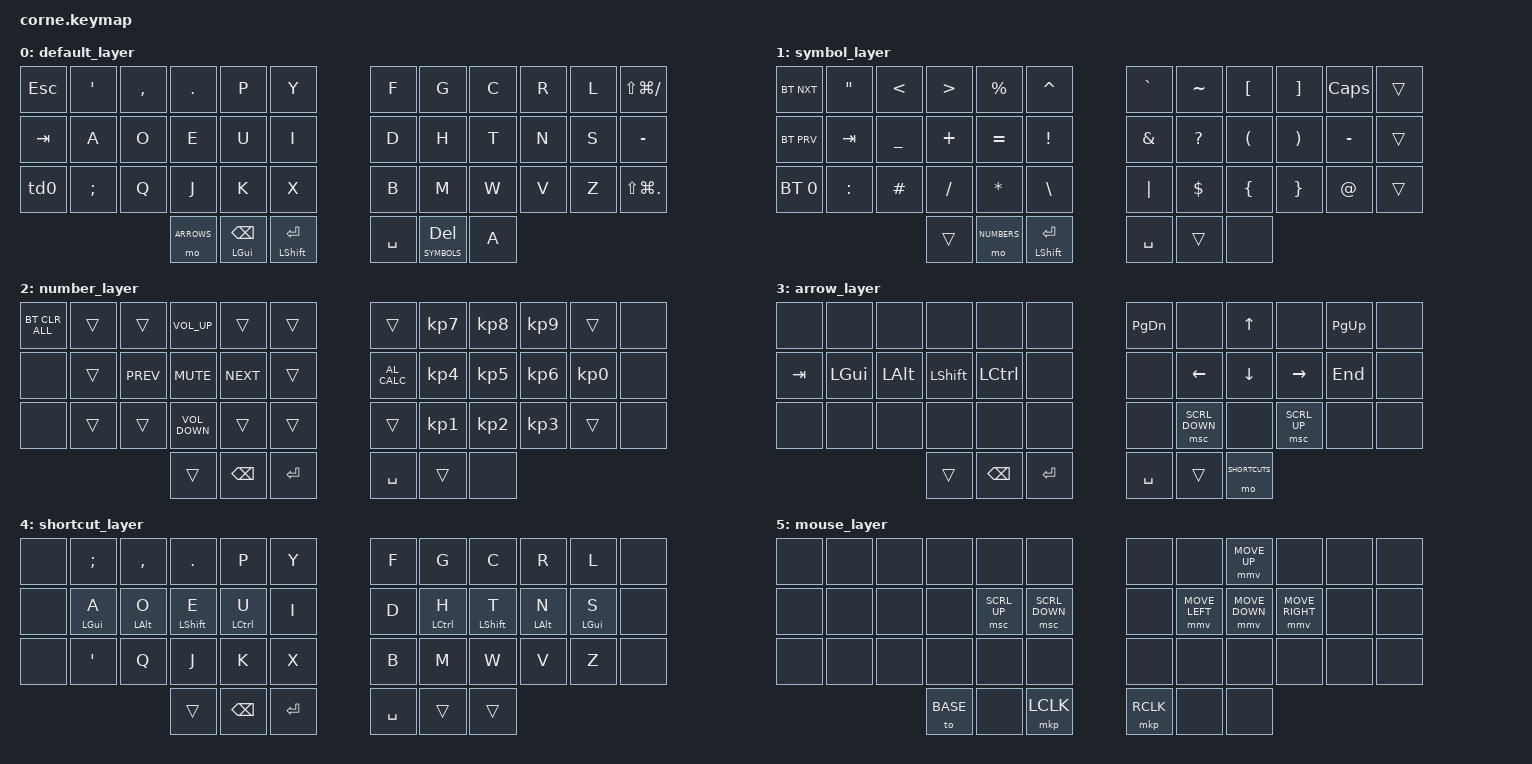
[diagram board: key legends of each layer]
/*
 * Copyright (c) 2020 The ZMK Contributors
 *
 * SPDX-License-Identifier: MIT
 */

#include <behaviors.dtsi>
#include <dt-bindings/zmk/keys.h>
#include <dt-bindings/zmk/bt.h>
#include <dt-bindings/zmk/pointing.h>

//#define ZMK_POINTING_DEFAULT_MOVE_VAL 300  // default: 600
//#define ZMK_POINTING_DEFAULT_SCRL_VAL 20    // default: 10

#define BASE 0
#define SYMBOLS 1
#define NUMBERS 2
#define ARROWS 3
#define SHORTCUTS 4
#define MOUSE 5

/ {
    combos {
        compatible = "zmk,combos";
        combo_esc {
                timeout-ms = <50>;
                key-positions = <0 1>;
                bindings = <&studio_unlock>;
        };
    };

    behaviors {
        td0: tap_dance_0 {
            compatible = "zmk,behavior-tap-dance";
            #binding-cells = <0>;
            tapping-term-ms = <200>;
            bindings = <&sk LC(LS(LA(LGUI)))>, <&sk LC(LS(LALT))>;
        };

    };
    
    keymap {
        compatible = "zmk,keymap";

        default_layer {
            // +------------------------------------------------------------------------------------+
            // | ' "  | , < | . > |  P  |  Y  |         |  F  |  G  |  C  |  R  |  L  |
            // |  A   |  O  |  E  |  U  |  I  |         |  D  |  H  |  T  |  N  |  S  |
            // | ; :  | q @ |  J  |  K  |  X  |         |  B  |  M  |  W  |  V  |  Z  |
            // |ARROWS| HYPR BACKSPACE | SHFT ENT |              | SPC | SYMBOL | UP  |
            // +------------------------------------------------------------------------------------+

            bindings = <
&kp ESC    &kp SQT   &kp COMMA  &kp DOT     &kp P     &kp Y             &kp F      &kp G        &kp C   &kp R  &kp L  &kp LS(LG(SLASH))
&kp TAB    &kp A     &kp O      &kp E       &kp U     &kp I             &kp D      &kp H        &kp T   &kp N  &kp S  &kp MINUS
&td0       &kp SEMI  &kp Q      &kp J       &kp K     &kp X             &kp B      &kp M        &kp W   &kp V  &kp Z  &kp LS(LG(DOT))
                            &mo ARROWS  &mt LEFT_GUI BSPC  &mt LSHIFT RET    &kp SPACE  &lt SYMBOLS DEL  &kp A
            >;
        };

        symbol_layer {
            // +------------------------------------------------------------------------------------+
            // |  "  |  <  |  >  |  %  |  ^  |         |  `  |  ~  |  [  |  ]  | CAPS|
            // | TAB |  _  |  +  |  =  |  !  |         |  &  |  ?  |  (  |  )  |  -  |
            // |  :  |  #  |  /  |  *  |  \  |         |  |  |  $  |  {  |  }  |  @  |
            //        | BASE | NUMBER| SHFT ENT |   | SPACE |     | TO_NUMBER |
            // +------------------------------------------------------------------------------------+

            bindings = <
&bt BT_NXT  &kp DQT    &kp LT     &kp GT     &kp PERCENT  &kp CARET         &kp GRAVE  &kp TILDE   &kp LBKT  &kp RBKT  &kp CAPS   &trans
&bt BT_PRV  &kp TAB    &kp UNDER  &kp PLUS   &kp EQUAL    &kp EXCL          &kp AMPS   &kp QMARK   &kp LPAR  &kp RPAR  &kp MINUS  &trans
&bt BT_SEL 0  &kp COLON  &kp HASH   &kp SLASH  &kp STAR     &kp BSLH          &kp PIPE   &kp DOLLAR  &kp LBRC  &kp RBRC  &kp AT     &trans
                             &trans     &mo NUMBERS  &mt LSHIFT RET    &kp SPACE  &trans      &none
            >;
        };

        number_layer {
            // +------------------------------------------------------------------------------------+
            // |     |     |     |     |     |         |     |  7  |  8  |  9  |     |
            // |     |     |     |     |     |         |     |  4  |  5  |  6  |  0  |
            // |     |     |     |     |     |         |     |  1  |  2  |  3  |     |
            //             | BASE|BSPC |RETURN|        |SPACE|     | none |
            // +------------------------------------------------------------------------------------+

            bindings = <
&bt BT_CLR_ALL  &trans  &trans      &kp C_VOLUME_UP    &trans      &trans     &trans         &kp KP_NUMBER_7  &kp KP_NUMBER_8  &kp KP_NUMBER_9  &trans           &none
&none  &trans   &kp C_PREV  &kp C_MUTE         &kp C_NEXT  &trans     &kp C_AL_CALC  &kp KP_NUMBER_4  &kp KP_NUMBER_5  &kp KP_NUMBER_6  &kp KP_NUMBER_0  &none
&none  &trans   &trans      &kp C_VOLUME_DOWN  &trans      &trans     &trans         &kp KP_NUMBER_1  &kp KP_NUMBER_2  &kp KP_NUMBER_3  &trans           &none
                            &trans             &kp BSPC    &kp RET    &kp SPACE      &trans           &none
            >;
        };

        arrow_layer {
            // +------------------------------------------------------------------------------------+
            // |  none  |  none  |  none  |  none  |  none  |         |  none  |  none  |  UP    |  none  |  none  |
            // |  GUI   |  ALT   |  SHFT  |  CTRL  |  TAB   |         |  HOME  |  LEFT  |  DOWN  |  RIGHT |  END   |
            // |  none  |  none  |  none  |  none  |  none  |         |  none  |  none  |  none  |  none  |  none  |
            //                           | BASE|BSPC |RETURN|         |SPACE| none | SHORTCUTS |
            // +------------------------------------------------------------------------------------+

            bindings = <
&none  &none     &none     &none       &none      &none      &kp PAGE_DOWN  &none           &kp UP         &none         &kp PAGE_UP  &none
&kp TAB  &kp LGUI  &kp LALT  &kp LSHIFT  &kp LCTRL  &none    &none       &kp LEFT        &kp DOWN       &kp RIGHT     &kp END      &none
&none  &none     &none     &none       &none      &none      &none          &msc SCRL_DOWN  &none          &msc SCRL_UP  &none        &none
                           &trans      &kp BSPC   &kp RET    &kp SPACE      &trans          &mo SHORTCUTS
            >;
        };

        shortcut_layer {
            // +------------------------------------------------------------------------------------+
            // | ; : | , < | . > |  P  |  Y  |         |  F  |  G  |  C  |  R  |  L  |
            // |GUI A|ALT O|SHFT E|CTRL U|  I  |       |  D  |  H  |  T  |  N  |  S  |
            // | ' " | q @ |  J  |  K  |  X  |         |  B  |  M  |  W  |  V  |  Z  |
            //    | BASE   | BACKSPACE |  ENT |        | SPC | none| MOUSE  |
            // +------------------------------------------------------------------------------------+

            bindings = <
&none  &kp SEMI    &kp COMMA   &kp DOT       &kp P        &kp Y      &kp F      &kp G        &kp C         &kp R       &kp L       &none
&none  &mt LGUI A  &mt LALT O  &mt LSHIFT E  &mt LCTRL U  &kp I      &kp D      &mt LCTRL H  &mt LSHIFT T  &mt LALT N  &mt LGUI S  &none
&none  &kp SQT     &kp Q       &kp J         &kp K        &kp X      &kp B      &kp M        &kp W         &kp V       &kp Z       &none
                               &trans        &kp BSPC     &kp RET    &kp SPACE  &trans       &trans
            >;
        };

        mouse_layer {
            // +------------------------------------------------------------------------------------+
            // |  none  |  none  |  none  |  none  |  none   |         |  none   |  none   |  MOUSE_U |  none    |  none  |
            // |  none  |  none  |  none  |  WHLUP | WHLDOWN |         |  none   | MOUSE_L |  MOUSE_D |  MOUSE_R |  none  |
            // |  none  |  none  |  none  |  none  |  none   |         |  none   |  none   |  none    |  none    |  none  |
            //                   |  BASE  |  none  | CLICK_L |         | CLICK_R |  none   |  none    |
            // +------------------------------------------------------------------------------------+

            bindings = <
&none  &none  &none  &none     &none         &none             &none      &none           &mmv MOVE_UP    &none            &none  &none
&none  &none  &none  &none     &msc SCRL_UP  &msc SCRL_DOWN    &none      &mmv MOVE_LEFT  &mmv MOVE_DOWN  &mmv MOVE_RIGHT  &none  &none
&none  &none  &none  &none     &none         &none             &none      &none           &none           &none            &none  &none
                     &to BASE  &none         &mkp LCLK         &mkp RCLK  &none           &none
            >;
        };
    };
};
